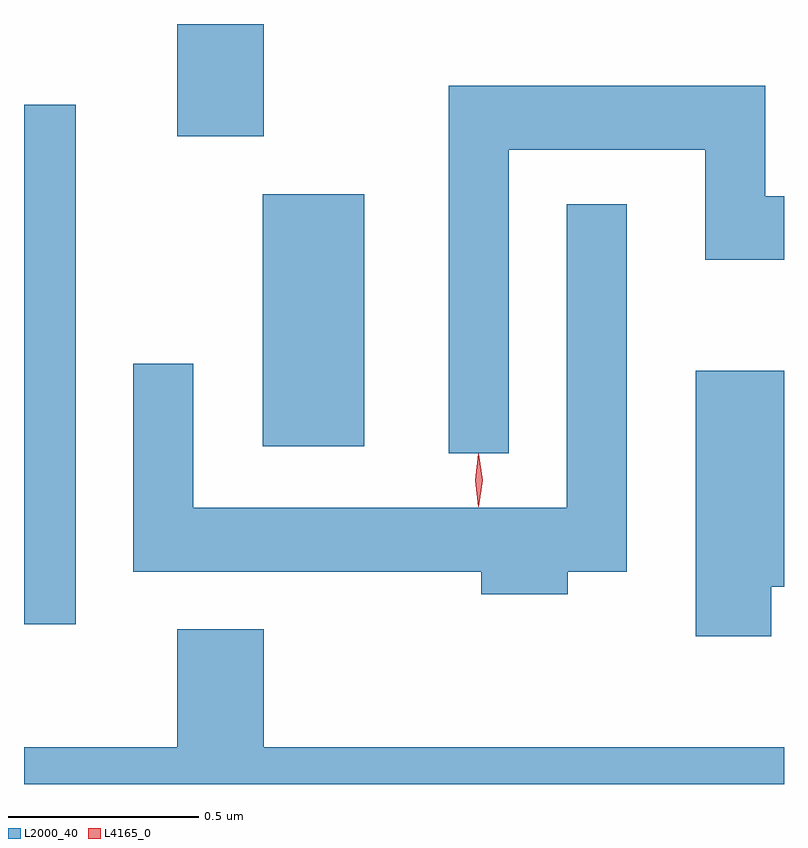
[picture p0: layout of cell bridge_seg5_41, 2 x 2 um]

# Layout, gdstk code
import gdstk
lib = gdstk.Library(unit=1e-6, precision=1e-09)
def R(c, l, rs):  # rectangles x0, y0, x1, y1
    for r in rs: c.add(gdstk.rectangle(r[:2], r[2:], *l))
def P(c, l, *ps):  # polygons
    for p in ps: c.add(gdstk.Polygon(p, *l))
L2000_40 = (2000, 40)
L4165_0 = (4165, 0)

bridge_seg5_41 = lib.new_cell('bridge_seg5_41')
R(bridge_seg5_41, L2000_40, [(1344.618,1464.048,1344.754,1465.414), (1345.246,1464.516,1345.514,1465.179), (1345.021,1465.331,1345.249,1465.627)])
P(bridge_seg5_41, L2000_40, [(1345.894,1465.296),(1346.411,1465.296),(1346.411,1465.006),(1346.618,1465.006),(1346.618,1465.174),(1346.569,1465.174),(1346.569,1465.464),(1345.736,1465.464),(1345.736,1464.498),(1345.894,1464.498)],
  [(1346.049,1464.186),(1346.204,1464.186),(1346.204,1465.153),(1346.046,1465.153),(1346.046,1464.354),(1345.064,1464.354),(1345.064,1464.733),(1344.906,1464.733),(1344.906,1464.186),(1345.821,1464.186),(1345.821,1464.126),(1346.049,1464.126)],
  [(1346.584,1464.146),(1346.618,1464.146),(1346.618,1464.714),(1346.386,1464.714),(1346.386,1464.016),(1346.584,1464.016)],
  [(1346.618,1463.724),(1345.249,1463.724),(1345.249,1464.034),(1345.021,1464.034),(1345.021,1463.724),(1344.618,1463.724),(1344.618,1463.627),(1346.618,1463.627)])
P(bridge_seg5_41, L4165_0, [(1345.814,1464.357),(1345.805,1464.426),(1345.814,1464.496),(1345.815,1464.496),(1345.815,1464.496),(1345.825,1464.426),(1345.815,1464.357),(1345.815,1464.357)])

lib.write_gds('bridge_seg5_41.gds')
